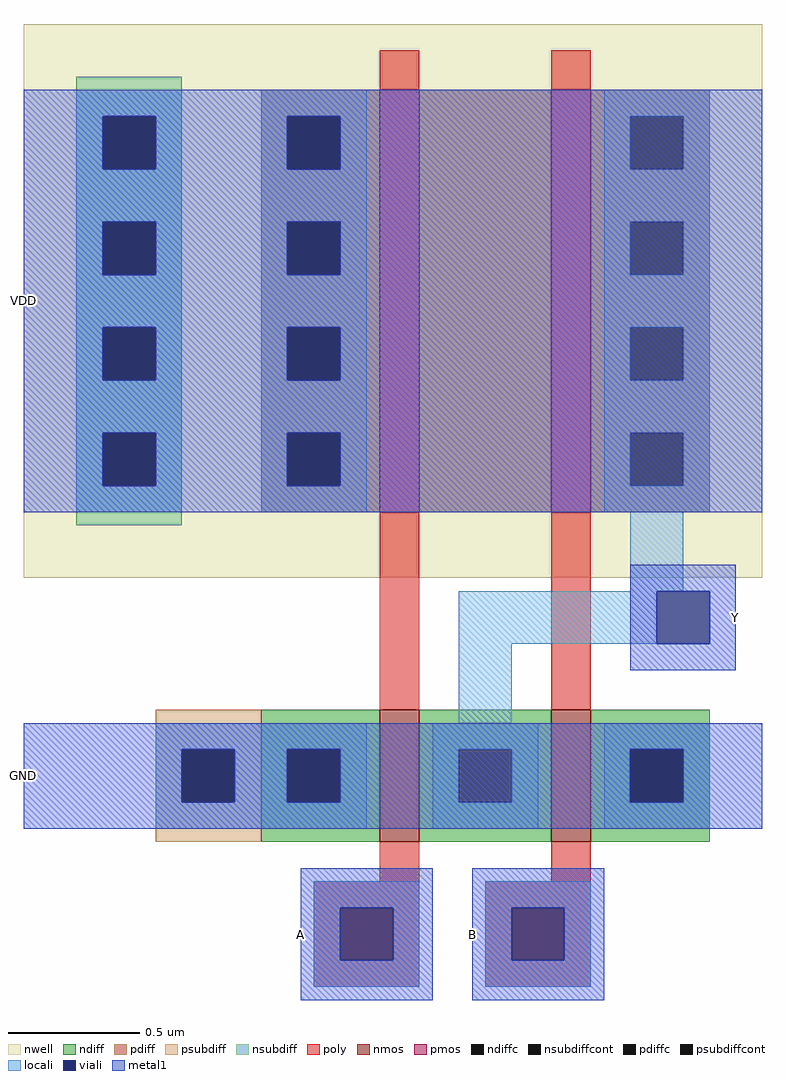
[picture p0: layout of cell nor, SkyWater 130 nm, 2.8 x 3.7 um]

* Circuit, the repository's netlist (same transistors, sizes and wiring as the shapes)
* SPICE3 file created from nor.ext - technology: sky130A

*.subckt nor VDD GND A B Y
X0 a_5_80# a_n35_n100# VDD VDD sky130_fd_pr__pfet_01v8 ad=0.4 pd=2.1 as=0.72 ps=4.1 w=1.6 l=0.15
X1 Y a_n35_n100# GND GND sky130_fd_pr__nfet_01v8 ad=0.125 pd=1 as=0.225 ps=1.9 w=0.5 l=0.15
X2 GND a_30_n100# Y GND sky130_fd_pr__nfet_01v8 ad=0.225 pd=1.9 as=0.125 ps=1 w=0.5 l=0.15
X3 Y a_30_n100# a_5_80# VDD sky130_fd_pr__pfet_01v8 ad=0.72 pd=4.1 as=0.4 ps=2.1 w=1.6 l=0.15
*.ends

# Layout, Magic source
magic
tech sky130A
<< nwell >>
rect -145 55 135 265
<< nmos >>
rect -10 -45 5 5
rect 55 -45 70 5
<< pmos >>
rect -10 80 5 240
rect 55 80 70 240
<< ndiff >>
rect -55 -10 -10 5
rect -55 -30 -45 -10
rect -25 -30 -10 -10
rect -55 -45 -10 -30
rect 5 -10 55 5
rect 5 -30 20 -10
rect 40 -30 55 -10
rect 5 -45 55 -30
rect 70 -10 115 5
rect 70 -30 85 -10
rect 105 -30 115 -10
rect 70 -45 115 -30
<< pdiff >>
rect -55 230 -10 240
rect -55 210 -45 230
rect -25 210 -10 230
rect -55 190 -10 210
rect -55 170 -45 190
rect -25 170 -10 190
rect -55 150 -10 170
rect -55 130 -45 150
rect -25 130 -10 150
rect -55 110 -10 130
rect -55 90 -45 110
rect -25 90 -10 110
rect -55 80 -10 90
rect 5 80 55 240
rect 70 230 115 240
rect 70 210 85 230
rect 105 210 115 230
rect 70 190 115 210
rect 70 170 85 190
rect 105 170 115 190
rect 70 150 115 170
rect 70 130 85 150
rect 105 130 115 150
rect 70 110 115 130
rect 70 90 85 110
rect 105 90 115 110
rect 70 80 115 90
<< ndiffc >>
rect -45 -30 -25 -10
rect 20 -30 40 -10
rect 85 -30 105 -10
<< pdiffc >>
rect -45 210 -25 230
rect -45 170 -25 190
rect -45 130 -25 150
rect -45 90 -25 110
rect 85 210 105 230
rect 85 170 105 190
rect 85 130 105 150
rect 85 90 105 110
<< psubdiff >>
rect -95 -10 -55 5
rect -95 -30 -85 -10
rect -65 -30 -55 -10
rect -95 -45 -55 -30
<< nsubdiff >>
rect -125 230 -85 245
rect -125 210 -115 230
rect -95 210 -85 230
rect -125 190 -85 210
rect -125 170 -115 190
rect -95 170 -85 190
rect -125 150 -85 170
rect -125 130 -115 150
rect -95 130 -85 150
rect -125 110 -85 130
rect -125 90 -115 110
rect -95 90 -85 110
rect -125 75 -85 90
<< psubdiffcont >>
rect -85 -30 -65 -10
<< nsubdiffcont >>
rect -115 210 -95 230
rect -115 170 -95 190
rect -115 130 -95 150
rect -115 90 -95 110
<< poly >>
rect -10 240 5 255
rect 55 240 70 255
rect -10 5 5 80
rect 55 5 70 80
rect -10 -60 5 -45
rect 55 -60 70 -45
rect -35 -100 5 -60
rect 30 -100 70 -60
<< locali >>
rect -125 230 -85 240
rect -125 210 -115 230
rect -95 210 -85 230
rect -125 190 -85 210
rect -125 170 -115 190
rect -95 170 -85 190
rect -125 150 -85 170
rect -125 130 -115 150
rect -95 130 -85 150
rect -125 110 -85 130
rect -125 90 -115 110
rect -95 90 -85 110
rect -125 80 -85 90
rect -55 230 -15 240
rect -55 210 -45 230
rect -25 210 -15 230
rect -55 190 -15 210
rect -55 170 -45 190
rect -25 170 -15 190
rect -55 150 -15 170
rect -55 130 -45 150
rect -25 130 -15 150
rect -55 110 -15 130
rect -55 90 -45 110
rect -25 90 -15 110
rect -55 80 -15 90
rect 75 230 115 240
rect 75 210 85 230
rect 105 210 115 230
rect 75 190 115 210
rect 75 170 85 190
rect 105 170 115 190
rect 75 150 115 170
rect 75 130 85 150
rect 105 130 115 150
rect 75 110 115 130
rect 75 90 85 110
rect 105 90 115 110
rect 75 80 115 90
rect 85 50 105 80
rect 20 30 95 50
rect 20 0 40 30
rect -95 -10 -15 0
rect -95 -30 -85 -10
rect -65 -30 -45 -10
rect -25 -30 -15 -10
rect -95 -40 -15 -30
rect 10 -10 50 0
rect 10 -30 20 -10
rect 40 -30 50 -10
rect 10 -40 50 -30
rect 75 -10 115 0
rect 75 -30 85 -10
rect 105 -30 115 -10
rect 75 -40 115 -30
rect -35 -70 5 -60
rect -35 -90 -25 -70
rect -5 -90 5 -70
rect -35 -100 5 -90
rect 30 -70 70 -60
rect 30 -90 40 -70
rect 60 -90 70 -70
rect 30 -100 70 -90
<< viali >>
rect -115 210 -95 230
rect -115 170 -95 190
rect -115 130 -95 150
rect -115 90 -95 110
rect -45 210 -25 230
rect -45 170 -25 190
rect -45 130 -25 150
rect -45 90 -25 110
rect 95 30 115 50
rect -85 -30 -65 -10
rect -45 -30 -25 -10
rect 85 -30 105 -10
rect -25 -90 -5 -70
rect 40 -90 60 -70
<< metal1 >>
rect -145 230 135 240
rect -145 210 -115 230
rect -95 210 -45 230
rect -25 210 135 230
rect -145 190 135 210
rect -145 170 -115 190
rect -95 170 -45 190
rect -25 170 135 190
rect -145 150 135 170
rect -145 130 -115 150
rect -95 130 -45 150
rect -25 130 135 150
rect -145 110 135 130
rect -145 90 -115 110
rect -95 90 -45 110
rect -25 90 135 110
rect -145 80 135 90
rect 85 50 125 60
rect 85 30 95 50
rect 115 30 125 50
rect 85 20 125 30
rect -145 -10 135 0
rect -145 -30 -85 -10
rect -65 -30 -45 -10
rect -25 -30 85 -10
rect 105 -30 135 -10
rect -145 -40 135 -30
rect -40 -70 10 -55
rect -40 -90 -25 -70
rect -5 -90 10 -70
rect -40 -105 10 -90
rect 25 -70 75 -55
rect 25 -90 40 -70
rect 60 -90 75 -70
rect 25 -105 75 -90
<< labels >>
rlabel metal1 -145 160 -145 160 7 VDD
port 1 w
rlabel metal1 -145 -20 -145 -20 7 GND
port 2 w
rlabel metal1 -40 -80 -40 -80 7 A
port 3 w
rlabel metal1 25 -80 25 -80 7 B
port 4 w
rlabel metal1 125 40 125 40 7 Y
port 5 w
<< end >>
